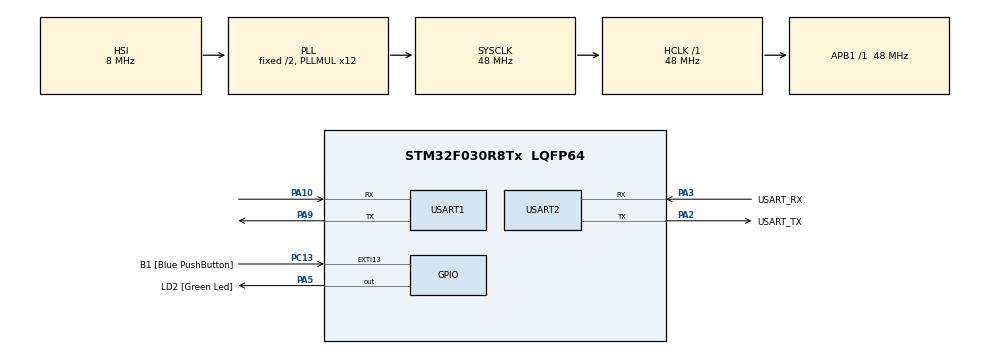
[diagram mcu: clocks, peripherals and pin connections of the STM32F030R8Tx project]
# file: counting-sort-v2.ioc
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Mcu.Family=STM32F0
Mcu.Name=STM32F030R8Tx
Mcu.Package=LQFP64
PA10.Mode=Asynchronous
PA10.Signal=USART1_RX
PA13.GPIO_Label=TMS
PA13.Mode=Serial_Wire
PA13.Signal=SYS_SWDIO
PA14.GPIO_Label=TCK
PA14.Mode=Serial_Wire
PA14.Signal=SYS_SWCLK
PA2.GPIO_Label=USART_TX
PA2.GPIO_Mode=GPIO_MODE_AF_PP
PA2.GPIO_PuPd=GPIO_NOPULL
PA2.GPIO_Speed=GPIO_SPEED_FREQ_LOW
PA2.Mode=Asynchronous
PA2.Signal=USART2_TX
PA3.GPIO_Label=USART_RX
PA3.GPIO_Mode=GPIO_MODE_AF_PP
PA3.GPIO_PuPd=GPIO_NOPULL
PA3.GPIO_Speed=GPIO_SPEED_FREQ_LOW
PA3.Mode=Asynchronous
PA3.Signal=USART2_RX
PA5.GPIO_Label=LD2 [Green Led]
PA5.GPIO_Mode=GPIO_MODE_OUTPUT_PP
PA5.GPIO_PuPd=GPIO_NOPULL
PA5.GPIO_Speed=GPIO_SPEED_FREQ_LOW
PA5.Signal=GPIO_Output
PA9.Mode=Asynchronous
PA9.Signal=USART1_TX
PC13.GPIO_Label=B1 [Blue PushButton]
PC13.GPIO_ModeDefaultEXTI=GPIO_MODE_IT_FALLING
PC13.Signal=GPXTI13
PC14-OSC32_IN.Mode=LSE-External-Oscillator
PC14-OSC32_IN.Signal=RCC_OSC32_IN
PC15-OSC32_OUT.Mode=LSE-External-Oscillator
PC15-OSC32_OUT.Signal=RCC_OSC32_OUT
PF0-OSC_IN.Mode=HSE-External-Clock-Source
PF0-OSC_IN.Signal=RCC_OSC_IN
PF1-OSC_OUT.Signal=RCC_OSC_OUT
ProjectManager.HeapSize=0x200
ProjectManager.StackSize=0x400
ProjectManager.TargetToolchain=STM32CubeIDE
RCC.AHBFreq_Value=48000000
RCC.APB1Freq_Value=48000000
RCC.APB1TimFreq_Value=48000000
RCC.HCLKFreq_Value=48000000
RCC.PLLMUL=RCC_PLL_MUL12
RCC.SYSCLKFreq_VALUE=48000000
RCC.SYSCLKSource=RCC_SYSCLKSOURCE_PLLCLK
USART1.VirtualMode-Asynchronous=VM_ASYNC
USART2.VirtualMode-Asynchronous=VM_ASYNC
board=NUCLEO-F030R8

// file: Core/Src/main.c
/* USER CODE BEGIN Header */
/**
  ******************************************************************************
  * @file           : main.c
  * @brief          : Main program body
  ******************************************************************************
  * @attention
  *
  * Copyright (c) 2026 STMicroelectronics.
  * All rights reserved.
  *
  * This software is licensed under terms that can be found in the LICENSE file
  * in the root directory of this software component.
  * If no LICENSE file comes with this software, it is provided AS-IS.
  *
  ******************************************************************************
  */
/* USER CODE END Header */
#include "main.h"

/* USER CODE BEGIN Includes */
#include <stdint.h>
/* USER CODE END Includes */

UART_HandleTypeDef huart1;
UART_HandleTypeDef huart2;

/* USER CODE BEGIN PV */
#define TOTAL_ELEMENTOS 8000
#define CHUNK_SIZE 100
#define VALOR_MINIMO -1000
#define VALOR_MAXIMO 1000
#define RANGE (VALOR_MAXIMO - VALOR_MINIMO + 1)

// buffer para entrada dos dados
int16_t buffer[CHUNK_SIZE];

// vetor count para ordenação
uint16_t count[RANGE];
/* USER CODE END PV */

void SystemClock_Config(void);
static void MX_GPIO_Init(void);
static void MX_USART2_UART_Init(void);
static void MX_USART1_UART_Init(void);

int main(void)
{

  /* MCU Configuration--------------------------------------------------------*/

  /* Reset of all peripherals, Initializes the Flash interface and the Systick. */
  HAL_Init();

  /* Configure the system clock */
  SystemClock_Config();

  /* Initialize all configured peripherals */
  MX_GPIO_Init();
  MX_USART2_UART_Init();
  MX_USART1_UART_Init();

  /* Infinite loop */
  /* USER CODE BEGIN WHILE */
  while (1)
  {
      // Inicializa o count com 0
      for (int i = 0; i < RANGE; i++) {
          count[i] = 0;
      }

      // Entrada dos elementos em blocos de 100
      for (int i = 0; i < (TOTAL_ELEMENTOS / CHUNK_SIZE); i++) {

          HAL_UART_Receive(&huart2, (uint8_t*)buffer, CHUNK_SIZE * sizeof(int16_t), HAL_MAX_DELAY);

          // Contabiliza o bloco no vetor principal
          for (int j = 0; j < CHUNK_SIZE; j++) {
              count[buffer[j] - VALOR_MINIMO]++;
          }
          // Fim do loop
      }

      int idx_buffer = 0;
      for (int i = 0; i < RANGE; i++) {
          while (count[i] > 0) {
              // Preenche o buffer com o número ordenado
              buffer[idx_buffer++] = i + VALOR_MINIMO;
              count[i]--;

              // Se o buffer encher (100 números), transmite para o PC e esvazia
              if (idx_buffer == CHUNK_SIZE) {
                  HAL_UART_Transmit(&huart2, (uint8_t*)buffer, CHUNK_SIZE * sizeof(int16_t), HAL_MAX_DELAY);
                  idx_buffer = 0; // Esvazia o buffer resetando o índice
              }
          }
      }

    /* USER CODE END WHILE */

  }
}

void SystemClock_Config(void)
{
  RCC_OscInitTypeDef RCC_OscInitStruct = {0};
  RCC_ClkInitTypeDef RCC_ClkInitStruct = {0};
  RCC_PeriphCLKInitTypeDef PeriphClkInit = {0};

  /** Initializes the RCC Oscillators according to the specified parameters
  * in the RCC_OscInitTypeDef structure.
  */
  RCC_OscInitStruct.OscillatorType = RCC_OSCILLATORTYPE_HSI;
  RCC_OscInitStruct.HSIState = RCC_HSI_ON;
  RCC_OscInitStruct.HSICalibrationValue = RCC_HSICALIBRATION_DEFAULT;
  RCC_OscInitStruct.PLL.PLLState = RCC_PLL_ON;
  RCC_OscInitStruct.PLL.PLLSource = RCC_PLLSOURCE_HSI;
  RCC_OscInitStruct.PLL.PLLMUL = RCC_PLL_MUL12;
  RCC_OscInitStruct.PLL.PREDIV = RCC_PREDIV_DIV1;
  if (HAL_RCC_OscConfig(&RCC_OscInitStruct) != HAL_OK)
  {
    Error_Handler();
  }

  /** Initializes the CPU, AHB and APB buses clocks
  */
  RCC_ClkInitStruct.ClockType = RCC_CLOCKTYPE_HCLK|RCC_CLOCKTYPE_SYSCLK
                              |RCC_CLOCKTYPE_PCLK1;
  RCC_ClkInitStruct.SYSCLKSource = RCC_SYSCLKSOURCE_PLLCLK;
  RCC_ClkInitStruct.AHBCLKDivider = RCC_SYSCLK_DIV1;
  RCC_ClkInitStruct.APB1CLKDivider = RCC_HCLK_DIV1;

  if (HAL_RCC_ClockConfig(&RCC_ClkInitStruct, FLASH_LATENCY_1) != HAL_OK)
  {
    Error_Handler();
  }
  PeriphClkInit.PeriphClockSelection = RCC_PERIPHCLK_USART1;
  PeriphClkInit.Usart1ClockSelection = RCC_USART1CLKSOURCE_PCLK1;
  if (HAL_RCCEx_PeriphCLKConfig(&PeriphClkInit) != HAL_OK)
  {
    Error_Handler();
  }
}

static void MX_USART1_UART_Init(void)
{

  huart1.Instance = USART1;
  huart1.Init.BaudRate = 38400;
  huart1.Init.WordLength = UART_WORDLENGTH_8B;
  huart1.Init.StopBits = UART_STOPBITS_1;
  huart1.Init.Parity = UART_PARITY_NONE;
  huart1.Init.Mode = UART_MODE_TX_RX;
  huart1.Init.HwFlowCtl = UART_HWCONTROL_NONE;
  huart1.Init.OverSampling = UART_OVERSAMPLING_16;
  huart1.Init.OneBitSampling = UART_ONE_BIT_SAMPLE_DISABLE;
  huart1.AdvancedInit.AdvFeatureInit = UART_ADVFEATURE_NO_INIT;
  if (HAL_UART_Init(&huart1) != HAL_OK)
  {
    Error_Handler();
  }

}

static void MX_USART2_UART_Init(void)
{

  huart2.Instance = USART2;
  huart2.Init.BaudRate = 38400;
  huart2.Init.WordLength = UART_WORDLENGTH_8B;
  huart2.Init.StopBits = UART_STOPBITS_1;
  huart2.Init.Parity = UART_PARITY_NONE;
  huart2.Init.Mode = UART_MODE_TX_RX;
  huart2.Init.HwFlowCtl = UART_HWCONTROL_NONE;
  huart2.Init.OverSampling = UART_OVERSAMPLING_16;
  huart2.Init.OneBitSampling = UART_ONE_BIT_SAMPLE_DISABLE;
  huart2.AdvancedInit.AdvFeatureInit = UART_ADVFEATURE_NO_INIT;
  if (HAL_UART_Init(&huart2) != HAL_OK)
  {
    Error_Handler();
  }

}

static void MX_GPIO_Init(void)
{
  GPIO_InitTypeDef GPIO_InitStruct = {0};

  /* GPIO Ports Clock Enable */
  __HAL_RCC_GPIOC_CLK_ENABLE();
  __HAL_RCC_GPIOF_CLK_ENABLE();
  __HAL_RCC_GPIOA_CLK_ENABLE();

  /*Configure GPIO pin Output Level */
  HAL_GPIO_WritePin(LD2_GPIO_Port, LD2_Pin, GPIO_PIN_RESET);

  /*Configure GPIO pin : B1_Pin */
  GPIO_InitStruct.Pin = B1_Pin;
  GPIO_InitStruct.Mode = GPIO_MODE_IT_FALLING;
  GPIO_InitStruct.Pull = GPIO_NOPULL;
  HAL_GPIO_Init(B1_GPIO_Port, &GPIO_InitStruct);

  /*Configure GPIO pin : LD2_Pin */
  GPIO_InitStruct.Pin = LD2_Pin;
  GPIO_InitStruct.Mode = GPIO_MODE_OUTPUT_PP;
  GPIO_InitStruct.Pull = GPIO_NOPULL;
  GPIO_InitStruct.Speed = GPIO_SPEED_FREQ_LOW;
  HAL_GPIO_Init(LD2_GPIO_Port, &GPIO_InitStruct);

}

void Error_Handler(void)
{
  __disable_irq();
  while (1)
  {
  }
}
